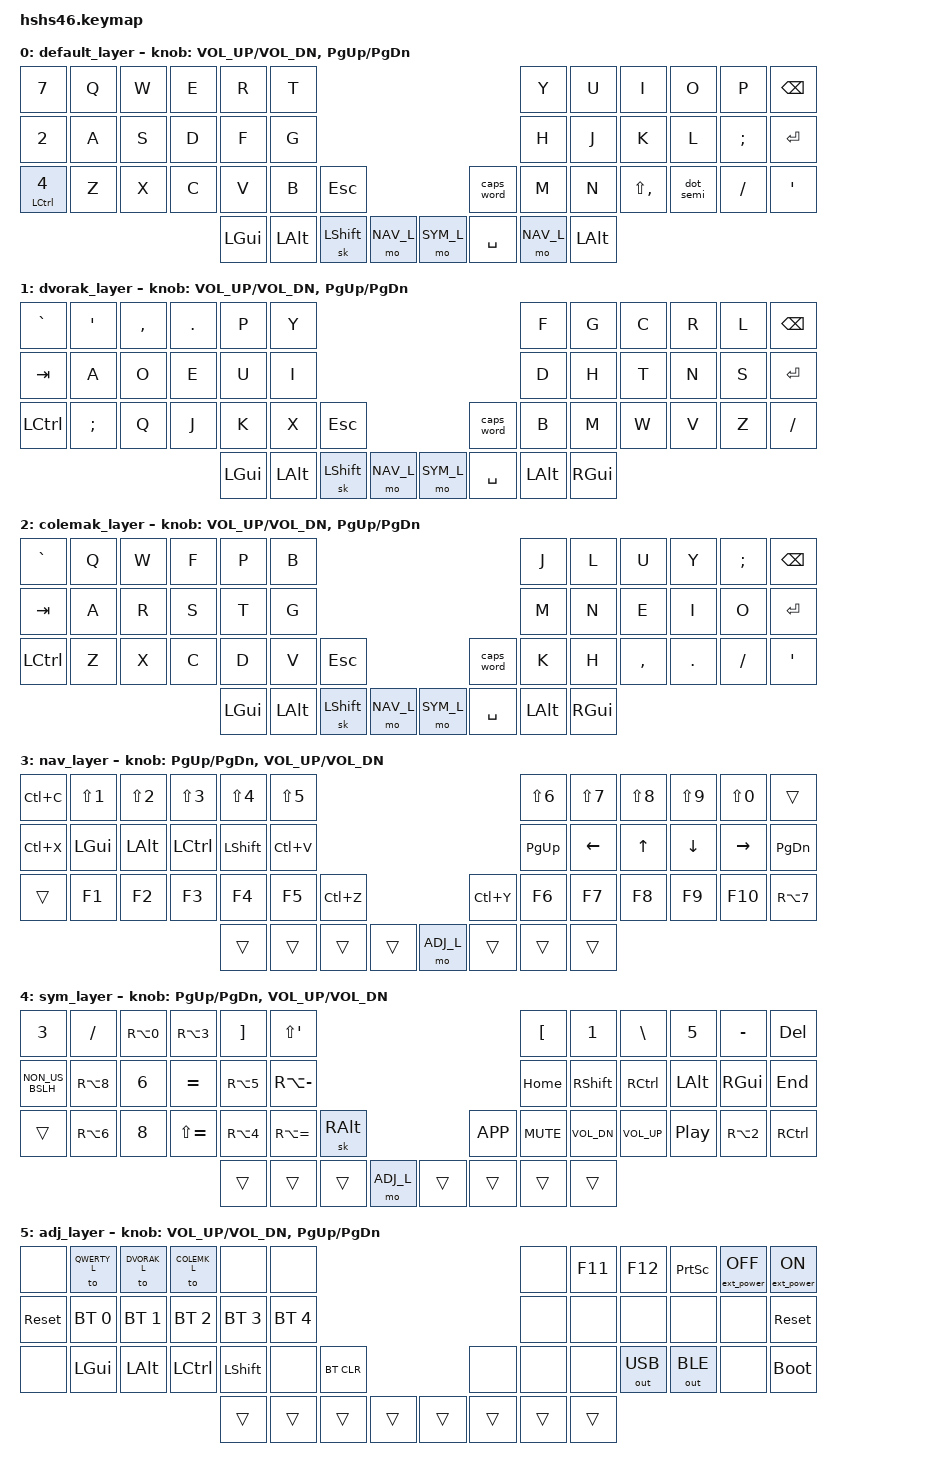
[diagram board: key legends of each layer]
/*
 * Copyright (c) 2021-2022 The ZMK Contributors
 *
 * SPDX-License-Identifier: MIT
 */

#include <behaviors.dtsi>
#include <dt-bindings/zmk/bt.h>
#include <dt-bindings/zmk/ext_power.h>
#include <dt-bindings/zmk/keys.h>
#include <dt-bindings/zmk/outputs.h>

#define QWERTY_L 0
#define DVORAK_L 1
#define COLEMK_L 2
#define NAV_L    3
#define SYM_L    4
#define ADJ_L    5

#define Undo   LC(Z)
#define Cut    LC(X)
#define Copy   LC(C)
#define Paste  LC(V)
#define Redo   LC(Y)


/ {
        behaviors {
                    dot_semi: dot_semi_morph {
                            compatible = "zmk,behavior-mod-morph";
                            label = "DOT_SEMI";
                            #binding-cells = <0>;
                            /* Action 1 (Sans Maj) = Point / Action 2 (Avec Maj) = Point-Virgule */
                            bindings = <&kp LS(COMMA)>, <&kp COMMA>;
                            mods = <(MOD_LSFT|MOD_RSFT)>;
                    };
        };
        combos {
                compatible = "zmk,combos";
                
                combo_e_acute {
                    timeout-ms = <50>;
                    key-positions = <3 4>;
                    bindings = <&kp N2>;      /* Envoie "é" sur un OS en FR */
                    layers = <0 1 2>;         /* ACTIF UNIQUEMENT SUR QWERTY, DVORAK, COLEMAK */
                };
                combo_e_grave {
                            timeout-ms = <50>;
                            key-positions = <2 3>;    /* Touches physiques W et E (Z et E en Azerty) */
                            bindings = <&kp N7>;      /* Envoie "è" sur un OS en FR */
                            layers = <0 1 2>;
                };
        /* Combo pour À (Touche 0 sur AZERTY) */
                combo_a_grave {
                    timeout-ms = <50>;
                    key-positions = <1 2>;    /* Touches physiques Q et W (A et Z en Azerty) */
                    bindings = <&kp N0>;      /* Envoie "à" */
                    layers = <0 1 2>;
                };
        
        /* Combo pour Ç (Touche 9 sur AZERTY) */
                combo_c_cedilla {
                    timeout-ms = <50>;
                    key-positions = <27 28>;  /* Touches physiques C et V */
                    bindings = <&kp N9>;      /* Envoie "ç" */
                    layers = <0 1 2>;
                };
        /* O + P = ^ (Accent Circonflexe / Tréma) */
                combo_circumflex {
                    timeout-ms = <50>;
                    key-positions = <9 10>;   /* Touches O et P */
                    bindings = <&kp LBKT>;    /* LBKT (Crochet Gauche US) = ^¨ en AZERTY */
                    layers = <0 1 2>;
                };
                /* J + K = ( (parenthèse ouvrante) */
                combo_paren_open {
                    timeout-ms = <50>;
                    key-positions = <19 20>;
                    bindings = <&kp N5>;
                    layers = <0 1 2>;
                };
                /* K + L = ) (parenthèse fermante) */
                combo_paren_close {
                    timeout-ms = <50>;
                    key-positions = <20 21>;
                    bindings = <&kp MINUS>;
                    layers = <0 1 2>;
                };
                /* A + Z = € (euro, AltGr+E en AZERTY) */
                combo_euro {
                    timeout-ms = <50>;
                    key-positions = <13 25>;
                    bindings = <&kp RA(E)>;
                    layers = <0 1 2>;
                };
            };
        keymap {
                compatible = "zmk,keymap";

                default_layer {
/* CODE ZMK (QWERTY)
 * -------------------------------------------------------------------------------------------------------------------------------------
 * |  N7   |   Q   |   W   |   E   |   R   |   T   |-----------------------------------|   Y   |   U   |   I   |   O   |   P   | BKSPC |
 * |  N2   |   A   |   S   |   D   |   F   |   G   |-----------------------------------|   H   |   J   |   K   |   L   |  SEMI | ENTER |
 * | CTL/N4|   Z   |   X   |   C   |   V   |   B   |  ESC  |-------------------| CAPS  |   M   |   N   | S(;)  |  DOT  | SLASH |  SQT  |
 *                                 |  GUI  |  ALT  |SK SHFT|  Nav  |---|  Sym  | SPACE |  Nav  |  ALT  |
 */

/* RESULTAT ECRAN (AZERTY)
 * -------------------------------------------------------------------------------------------------------------------------------------
 * |   è   |   A   |   Z   |   E   |   R   |   T   |-----------------------------------|   Y   |   U   |   I   |   O   |   P   | BKSPC |
 * |   é   |   Q   |   S   |   D   |   F   |   G   |-----------------------------------|   H   |   J   |   K   |   L   |   M   | ENTER |
 * | Ctl/' |   W   |   X   |   C   |   V   |   B   |  ESC  |-------------------| CAPS  |   ,   |   n   |  . ;  |  : /  |  ! §  |   ù   |
 *                                 |  GUI  |  ALT  |SK SHFT|  Nav  |---|  Sym  | SPACE |  Nav  |  ALT  |
 */

                        bindings = <
&kp  N7       &kp  Q        &kp  W        &kp  E        &kp  R        &kp  T                                                                         &kp  Y        &kp  U        &kp  I         &kp  O        &kp  P        &kp  BSPC
&kp  N2       &kp  A        &kp  S        &kp  D        &kp  F        &kp  G                                                                         &kp  H        &kp  J        &kp  K         &kp  L        &kp  SEMI     &kp  ENTER
&mt LCTRL N4  &kp  Z        &kp  X        &kp  C        &kp  V        &kp  B        &kp  ESC                                           &caps_word    &kp  M        &kp  N        &kp  LS(COMMA) &dot_semi     &kp  SLASH    &kp  SQT
                                                        &kp  LGUI     &kp  LALT     &sk  LSHIFT    &mo  NAV_L            &mo  SYM_L    &kp  SPACE    &mo  NAV_L    &kp  LALT
                        >;

                        sensor-bindings = <&inc_dec_kp C_VOL_UP C_VOL_DN &inc_dec_kp PG_UP PG_DN>;
                };

                dvorak_layer {
/* DVORAK
 * -------------------------------------------------------------------------------------------------------------------------------------
 * | `     |   '   |   ,   |   .   |   P   |   Y   |-----------------------------------|   F   |   G   |   C   |   R   |   L   | BKSPC |
 * | TAB   |   A   |   O   |   E   |   U   |   I   |-----------------------------------|   D   |   H   |   T   |   N   |   S   | ENTER |
 * | CTRL  |   ;   |   Q   |   J   |   K   |   X   |  ESC  |-------------------| CAPS  |   B   |   M   |   W   |   V   |   Z   |   /   |
 *                                 |  GUI  |  ALT  |SK SHFT|  Nav  |---|  Sym  | SPACE |  ALT  |  GUI  |
 */
                        bindings = <
&kp  GRAVE    &kp  SQT      &kp  COMMA    &kp  DOT      &kp  P        &kp  Y                                                                         &kp  F        &kp  G        &kp  C        &kp  R        &kp  L        &kp  BSPC
&kp  TAB      &kp  A        &kp  O        &kp  E        &kp  U        &kp  I                                                                         &kp  D        &kp  H        &kp  T        &kp  N        &kp  S        &kp  ENTER
&kp  LCTRL    &kp  SEMI     &kp  Q        &kp  J        &kp  K        &kp  X        &kp  ESC                                           &caps_word    &kp  B        &kp  M        &kp  W        &kp  V        &kp  Z        &kp  SLASH
                                                        &kp  LGUI     &kp  LALT     &sk  LSHIFT    &mo  NAV_L            &mo  SYM_L    &kp  SPACE    &kp  LALT     &kp  RGUI
                        >;

                        sensor-bindings = <&inc_dec_kp C_VOL_UP C_VOL_DN &inc_dec_kp PG_UP PG_DN>;
                };

                colemak_layer {
/* COLEMAK-DH
 * -------------------------------------------------------------------------------------------------------------------------------------
 * | `     |   Q   |   W   |   F   |   P   |   B   |-----------------------------------|   J   |   L   |   U   |   Y   |   ;   | BKSPC |
 * | TAB   |   A   |   R   |   S   |   T   |   G   |-----------------------------------|   M   |   N   |   E   |   I   |   O   | ENTER |
 * | CTRL  |   Z   |   X   |   C   |   D   |   V   |  ESC  |-------------------| CAPS  |   K   |   H   |   ,   |   .   |   /   |   '   |
 *                                 |  GUI  |  ALT  |SK SHFT|  Nav  |---|  Sym  | SPACE |  ALT  |  GUI  |
 */
                        bindings = <
&kp  GRAVE    &kp  Q        &kp  W        &kp  F        &kp  P        &kp  B                                                                         &kp  J        &kp  L        &kp  U        &kp  Y        &kp  SEMI     &kp  BSPC
&kp  TAB      &kp  A        &kp  R        &kp  S        &kp  T        &kp  G                                                                         &kp  M        &kp  N        &kp  E        &kp  I        &kp  O        &kp  ENTER
&kp  LCTRL    &kp  Z        &kp  X        &kp  C        &kp  D        &kp  V        &kp   ESC                                          &caps_word    &kp  K        &kp  H        &kp  COMMA    &kp  DOT      &kp  SLASH    &kp  SQT
                                                        &kp  LGUI     &kp  LALT     &sk  LSHIFT    &mo  NAV_L            &mo  SYM_L    &kp  SPACE    &kp  LALT     &kp  RGUI
                        >;

                        sensor-bindings = <&inc_dec_kp C_VOL_UP C_VOL_DN &inc_dec_kp PG_UP PG_DN>;
                };

                nav_layer {

/* CODE ZMK (QWERTY)
 * Note: LS(Nx) signifie "Shift + Chiffre" pour forcer le chiffre en AZERTY
 * -------------------------------------------------------------------------------------------------------------------------------------
 * |  Copy | LS(N1)| LS(N2)| LS(N3)| LS(N4)| LS(N5)|-----------------------------------| LS(N6)| LS(N7)| LS(N8)| LS(N9)| LS(N0)| trans |
 * |  Cut  |  GUI  |  ALT  |  CTRL | LSHFT | Paste |-----------------------------------| PG_UP |  LEFT |  UP   |  DOWN | RIGHT | PG_DN |
 * | trans |  F1   |  F2   |  F3   |  F4   |  F5   |  Undo |-------------------| Redo  |  F6   |  F7   |  F8   |  F9   |  F10  | RCTRL |
 * |       |       |       |       |---| ADJ_L |       |       |       |
 */

/* RESULTAT ECRAN (AZERTY)
 * -------------------------------------------------------------------------------------------------------------------------------------
 * | Copie |   1   |   2   |   3   |   4   |   5   |-----------------------------------|   6   |   7   |   8   |   9   |   0   |       |
 * | Coupe |  Win  |  Alt  |  Ctl  |  Maj  | Colle |-----------------------------------| PgHt  | Gauche| Haut  |  Bas  | Droite| PgBas |
 * |       |  F1   |  F2   |  F3   |  F4   |  F5   | Annul |------------------| Refaire|  F6   |  F7   |  F8   |  F9   |  F10  |   `   |
 *                                 |       |       |       |      |---|  ADJ  |        |       |       |
 */
                        bindings = <
&kp  Copy     &kp  LS(N1)   &kp  LS(N2)   &kp  LS(N3)   &kp  LS(N4)   &kp  LS(N5)                                                                    &kp   LS(N6)  &kp  LS(N7)  &kp   LS(N8)  &kp   LS(N9)  &kp  LS(N0)   &trans
&kp  Cut      &kp  LGUI     &kp  LALT     &kp  LCTRL    &kp  LSHFT    &kp  Paste                                                                     &kp   PG_UP   &kp  LEFT    &kp   UP      &kp   DOWN    &kp  RIGHT    &kp PG_DN
&trans        &kp  F1       &kp  F2       &kp  F3       &kp  F4       &kp  F5       &kp Undo                                           &kp  Redo     &kp   F6      &kp  F7      &kp   F8      &kp   F9      &kp  F10      &kp RA(N7)
                                                        &trans        &trans        &trans        &trans                 &mo ADJ_L     &trans        &trans        &trans
                        >;

                        sensor-bindings = <&inc_dec_kp PG_UP PG_DN &inc_dec_kp C_VOL_UP C_VOL_DN>;
                };

sym_layer {
/* CODE ZMK (QWERTY)
 * -------------------------------------------------------------------------------------------------------------------------------------
 * |   "   | SLASH | RA(N0)| RA(N3)|  RBKT | LS(') |-----------------------------------|  LBKT |  N1   | LS(\) |  N5   | MINUS |  DEL  |
 * |  < >  | RA(N8)|  N6   | EQUAL | RA(N5)| RA(-) |-----------------------------------|  HOME | RSHFT | RCTRL | LALT  | RGUI  |  END  |
 * | trans | RA(N6)|  N8   | LS(=) | RA(N4)| RA(=) | sk AG |-------------------| K_APP | C_MUT | Vol-  | Vol+  | Play  |   ~   | RCTRL |
 *                 |       |       |       |       |       |           |  ADJ  |
 */

/* RESULTAT ECRAN (AZERTY)
 * -------------------------------------------------------------------------------------------------------------------------------------
 * |   "   |   !   |   @   |   #   |   $   |   %   |-----------------------------------|   ^   |   &   |   *   |   (   |   )   | Supp  |
 * |  < >  |   \   |   -   |   =   |   [   |   ]   |-----------------------------------| Debut |  Maj  |  Ctl  |  Alt  |  Win  |  Fin  |
 * |       |   |   |   _   |   +   |   {   |   }   | AltGr |-------------------| Menu  | Muet  | Vol-  | Vol+  | Play  |   ~   |  Ctl  |
 *                         |       |       |       |       |           |  ADJ  |
 */
            bindings = <
&kp N3           &kp SLASH   &kp RA(N0) &kp RA(N3)    &kp RBKT   &kp LS(SQT)                                                  &kp LBKT   &kp N1       &kp BSLH     &kp N5     &kp MINUS  &kp DEL
&kp NON_US_BSLH  &kp RA(N8)  &kp N6     &kp EQUAL     &kp RA(N5) &kp RA(MINUS)                                                &kp HOME   &kp RSHFT    &kp RCTRL    &kp LALT   &kp RGUI   &kp END
&trans           &kp RA(N6)  &kp N8     &kp LS(EQUAL) &kp RA(N4) &kp RA(EQUAL) &sk RALT                            &kp K_APP  &kp C_MUTE &kp C_VOL_DN &kp C_VOL_UP &kp C_PP   &kp RA(N2) &kp RCTRL
                                                &trans     &trans        &trans     &mo ADJ_L     &trans     &trans     &trans     &trans
            >;
            sensor-bindings = <&inc_dec_kp PG_UP PG_DN &inc_dec_kp C_VOL_UP C_VOL_DN>;
        };

                adj_layer {
/* ADJUST
 * -------------------------------------------------------------------------------------------------------------------------------------
 * |       | QWERTY| DVORAK| COLEMK|       |       |-----------------------------------|       |  F11  |  F12  |Prt Scr|EP_OFF | EP_ON |
 * | RESET | BT 0  | BT 1  | BT 2  | BT 3  | BT 4  |-----------------------------------|       |       |       |       |       | RESET |
 * |       | LGUI  | LALT  | LCTRL | LSHIFT|       |BT CLR |-------------------|       |       |       |OUT_USB|OUT_BLE|       | BOOTL |
 *                                 |       |       |       |       |---|       |       |       |       |
 */
                        bindings = <
&none         &to  QWERTY_L &to  DVORAK_L &to  COLEMK_L &none         &none                                                                             &none             &kp   F11          &kp   F12  &kp PRINTSCREEN   &ext_power EP_OFF  &ext_power EP_ON
&sys_reset        &bt  BT_SEL 0 &bt  BT_SEL 1 &bt  BT_SEL 2 &bt  BT_SEL 3 &bt  BT_SEL 4                                                                     &none             &none              &none            &none          &none           &sys_reset
&none         &kp  LGUI     &kp  LALT     &kp  LCTRL    &kp LSHIFT    &none         &bt BT_CLR                                         &none            &none             &none              &out  OUT_USB    &out  OUT_BLE  &none           &bootloader
                                                        &trans        &trans        &trans        &trans                 &trans        &trans           &trans            &trans
                        >;

                        sensor-bindings = <&inc_dec_kp C_VOL_UP C_VOL_DN &inc_dec_kp PG_UP PG_DN>;
                };
        };
};
